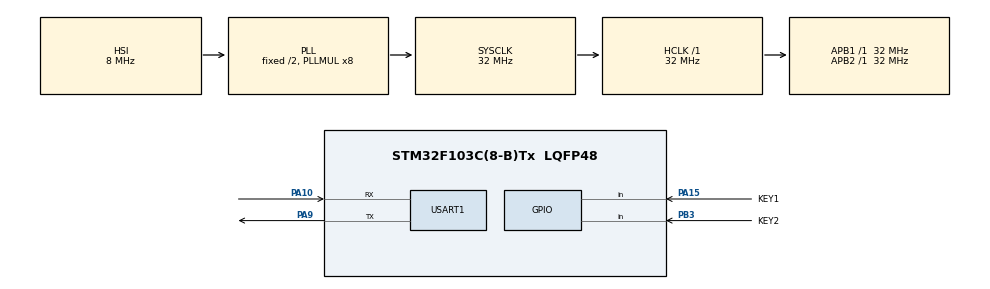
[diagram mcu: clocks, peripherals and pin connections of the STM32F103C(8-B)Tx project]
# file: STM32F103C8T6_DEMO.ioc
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Mcu.Family=STM32F1
Mcu.Name=STM32F103C(8-B)Tx
Mcu.Package=LQFP48
NVIC.PriorityGroup=NVIC_PRIORITYGROUP_4
NVIC.USART1_IRQn=true\:0\:0\:false\:false\:true\:true
PA10.Mode=Asynchronous
PA10.Signal=USART1_RX
PA13.Mode=Serial_Wire
PA13.Signal=SYS_JTMS-SWDIO
PA14.Mode=Serial_Wire
PA14.Signal=SYS_JTCK-SWCLK
PA15.GPIO_Label=KEY1
PA15.GPIO_PuPd=GPIO_PULLUP
PA15.Signal=GPIO_Input
PA9.Mode=Asynchronous
PA9.Signal=USART1_TX
PB3.GPIO_Label=KEY2
PB3.GPIO_PuPd=GPIO_PULLUP
PB3.Signal=GPIO_Input
ProjectManager.HeapSize=0x200
ProjectManager.StackSize=0x400
ProjectManager.TargetToolchain=MDK-ARM V5
RCC.AHBFreq_Value=32000000
RCC.APB1Freq_Value=32000000
RCC.APB1TimFreq_Value=32000000
RCC.APB2Freq_Value=32000000
RCC.APB2TimFreq_Value=32000000
RCC.HCLKFreq_Value=32000000
RCC.PLLMUL=RCC_PLL_MUL8
RCC.SYSCLKFreq_VALUE=32000000
RCC.SYSCLKSource=RCC_SYSCLKSOURCE_PLLCLK
RCC.TimSys_Div=SYSTICK_CLKSOURCE_HCLK_DIV8
RCC.USBFreq_Value=32000000
USART1.VirtualMode=VM_ASYNC
board=custom

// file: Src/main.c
/* USER CODE BEGIN Header */
/**
  ******************************************************************************
  * @file           : main.c
  * @brief          : Main program body
  ******************************************************************************
  ** This notice applies to any and all portions of this file
  * that are not between comment pairs USER CODE BEGIN and
  * USER CODE END. Other portions of this file, whether
  * inserted by the user or by software development tools
  * are owned by their respective copyright owners.
  *
  * COPYRIGHT(c) 2019 STMicroelectronics
  *
  * Redistribution and use in source and binary forms, with or without modification,
  * are permitted provided that the following conditions are met:
  *   1. Redistributions of source code must retain the above copyright notice,
  *      this list of conditions and the following disclaimer.
  *   2. Redistributions in binary form must reproduce the above copyright notice,
  *      this list of conditions and the following disclaimer in the documentation
  *      and/or other materials provided with the distribution.
  *   3. Neither the name of STMicroelectronics nor the names of its contributors
  *      may be used to endorse or promote products derived from this software
  *      without specific prior written permission.
  *
  * THIS SOFTWARE IS PROVIDED BY THE COPYRIGHT HOLDERS AND CONTRIBUTORS "AS IS"
  * AND ANY EXPRESS OR IMPLIED WARRANTIES, INCLUDING, BUT NOT LIMITED TO, THE
  * IMPLIED WARRANTIES OF MERCHANTABILITY AND FITNESS FOR A PARTICULAR PURPOSE ARE
  * DISCLAIMED. IN NO EVENT SHALL THE COPYRIGHT HOLDER OR CONTRIBUTORS BE LIABLE
  * FOR ANY DIRECT, INDIRECT, INCIDENTAL, SPECIAL, EXEMPLARY, OR CONSEQUENTIAL
  * DAMAGES (INCLUDING, BUT NOT LIMITED TO, PROCUREMENT OF SUBSTITUTE GOODS OR
  * SERVICES; LOSS OF USE, DATA, OR PROFITS; OR BUSINESS INTERRUPTION) HOWEVER
  * CAUSED AND ON ANY THEORY OF LIABILITY, WHETHER IN CONTRACT, STRICT LIABILITY,
  * OR TORT (INCLUDING NEGLIGENCE OR OTHERWISE) ARISING IN ANY WAY OUT OF THE USE
  * OF THIS SOFTWARE, EVEN IF ADVISED OF THE POSSIBILITY OF SUCH DAMAGE.
  *
  ******************************************************************************
  */
/* USER CODE END Header */

#include "main.h"
#include "usart.h"
#include "gpio.h"

/* USER CODE BEGIN Includes */
#include "hal_dev_ctrl.h"
#include "pcf8563/pcf8563.h"
#include "si7020/si7020_iic.h"
#include "bh1750/bh1750.h"
/* USER CODE END Includes */

void SystemClock_Config(void);

/* USER CODE BEGIN 0 */
/* 重定向printf函数	begin*/
// 将此段程序复制到相应的文件中即可实现printf功能。
#include "stdio.h"
#ifdef __GNUC__
#define PUTCHAR_PROTOTYPE int __io_putchar(int ch)
#else
#define PUTCHAR_PROTOTYPE int fputc(int ch, FILE *f)
#endif /* __GNUC__ */
__IO ITStatus USART1Ready = RESET;

PUTCHAR_PROTOTYPE
{
	HAL_UART_Transmit_IT(&huart1 , (uint8_t *)&ch, 1);
	while (USART1Ready != SET)
  {
  }
	USART1Ready = RESET;
	return ch;
}
 /**
  * @brief  Tx Transfer completed callbacks.
  * @param  huart: pointer to a UART_HandleTypeDef structure that contains
  *                the configuration information for the specified UART module.
  * @retval None
  */
void HAL_UART_TxCpltCallback(UART_HandleTypeDef *huart)
{
  /* NOTE: This function Should not be modified, when the callback is needed,
           the HAL_UART_TxCpltCallback could be implemented in the user file
   */
	USART1Ready = SET;
}
/* 重定向printf函数	end*/

void delay(uint32_t ms)
{
	uint32_t i,j;
	for(i=0;i<ms;i++)
	{
		for(j=0;j<1000;j++)
		;
	}
}
/* USER CODE END 0 */

int main(void)
{

  /* MCU Configuration--------------------------------------------------------*/

  /* Reset of all peripherals, Initializes the Flash interface and the Systick. */
  HAL_Init();

  /* Configure the system clock */
  SystemClock_Config();

  /* Initialize all configured peripherals */
  MX_GPIO_Init();
  MX_USART1_UART_Init();
  /* USER CODE BEGIN 2 */
    PCF8563_IIC_Init();
	PCF8563_WriteTime();
	SI7020_IIC_Init();
	BH1750_IIC_Init();
	singleWriteBH1750(0x01);
	printf ("STM32F103C8T6 Init Finshed!\r\n");
  /* USER CODE END 2 */

  /* Infinite loop */
  while (1)
  {

    /* USER CODE BEGIN 3 */
//	  delay(1000);
//	  printf ("while 1 test \r\n");
	  task_handle();
  }
  /* USER CODE END 3 */
}

void SystemClock_Config(void)
{
  RCC_OscInitTypeDef RCC_OscInitStruct = {0};
  RCC_ClkInitTypeDef RCC_ClkInitStruct = {0};

  /**Initializes the CPU, AHB and APB busses clocks
  */
  RCC_OscInitStruct.OscillatorType = RCC_OSCILLATORTYPE_HSI;
  RCC_OscInitStruct.HSIState = RCC_HSI_ON;
  RCC_OscInitStruct.HSICalibrationValue = RCC_HSICALIBRATION_DEFAULT;
  RCC_OscInitStruct.PLL.PLLState = RCC_PLL_ON;
  RCC_OscInitStruct.PLL.PLLSource = RCC_PLLSOURCE_HSI_DIV2;
  RCC_OscInitStruct.PLL.PLLMUL = RCC_PLL_MUL8;
  if (HAL_RCC_OscConfig(&RCC_OscInitStruct) != HAL_OK)
  {
    Error_Handler();
  }
  /**Initializes the CPU, AHB and APB busses clocks
  */
  RCC_ClkInitStruct.ClockType = RCC_CLOCKTYPE_HCLK|RCC_CLOCKTYPE_SYSCLK
                              |RCC_CLOCKTYPE_PCLK1|RCC_CLOCKTYPE_PCLK2;
  RCC_ClkInitStruct.SYSCLKSource = RCC_SYSCLKSOURCE_PLLCLK;
  RCC_ClkInitStruct.AHBCLKDivider = RCC_SYSCLK_DIV1;
  RCC_ClkInitStruct.APB1CLKDivider = RCC_HCLK_DIV1;
  RCC_ClkInitStruct.APB2CLKDivider = RCC_HCLK_DIV1;

  if (HAL_RCC_ClockConfig(&RCC_ClkInitStruct, FLASH_LATENCY_1) != HAL_OK)
  {
    Error_Handler();
  }
  HAL_SYSTICK_Config(HAL_RCC_GetHCLKFreq()/8000);

    /**Configure the Systick
    */
  HAL_SYSTICK_CLKSourceConfig(SYSTICK_CLKSOURCE_HCLK_DIV8);

  /* SysTick_IRQn interrupt configuration */
  HAL_NVIC_SetPriority(SysTick_IRQn, 0, 0);
}

void Error_Handler(void)
{
}

/************************ (C) COPYRIGHT STMicroelectronics *****END OF FILE****/
